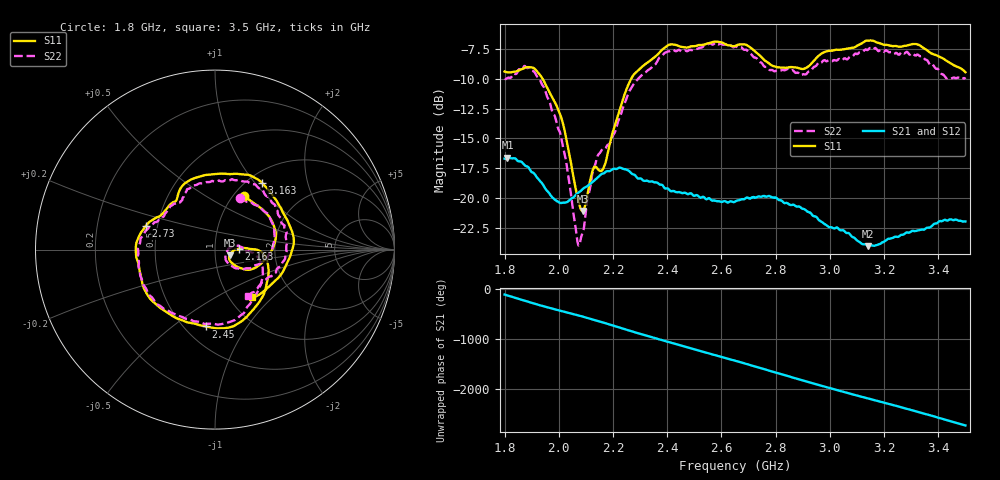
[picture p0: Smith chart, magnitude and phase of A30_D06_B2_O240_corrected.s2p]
! Created with skrf 1.9.0 (http://scikit-rf.org).
# Hz S RI R 50.0
!freq ReS11 ImS11 ReS21 ImS21 ReS12 ImS12 ReS22 ImS22
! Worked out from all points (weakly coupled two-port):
!   1601 points, 1.8 GHz to 3.5 GHz, reference 50 ohm
!   highest |S21| = -16.63 dB at 1.811 GHz (marker M1); lowest = -24.1 dB at 3.142 GHz (marker M2)
!   lowest |S11| = -21.1 dB at 2.088 GHz (marker M3), VSWR 1.19, Z = 58.8 - j3.85 ohm
!   |S11| at or under -10 dB: 1.941 GHz to 2.267 GHz (326.3 MHz wide, 15.5 % of centre)
!   |S22| runs from -24.0 to -7.0 dB; largest |S21 - S12| = 0.0024
!   S11 on the Smith chart (normalised r, x): 1.8 GHz: 1.12, +0.75; 2.163 GHz: 1.31, +0.01; 2.45 GHz: 0.63, -0.66; 2.73 GHz: 0.43, +0.14; 3.163 GHz: 1.16, +1.09; 3.5 GHz: 1.27, -0.76
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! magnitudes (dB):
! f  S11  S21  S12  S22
! 1.8 GHz  -9.4  -16.7  -16.7  -10.0
! 1.811 GHz  -9.5  -16.6  -16.6  -9.9
! 1.88 GHz  -9.0  -17.3  -17.3  -9.0
! 1.942 GHz  -10.1  -18.9  -18.9  -10.6
! 2.011 GHz  -13.4  -20.4  -20.4  -15.3
! 2.068 GHz  -19.8  -19.6  -19.6  -23.5
! 2.084 GHz  -21.0  -19.4  -19.3  -23.2
! 2.088 GHz  -21.1  -19.3  -19.3  -22.9
! 2.127 GHz  -17.5  -18.6  -18.6  -17.6
! 2.163 GHz  -17.6  -18.0  -17.9  -15.8
! 2.262 GHz  -10.2  -17.8  -17.8  -11.0
! 2.367 GHz  -7.9  -18.8  -18.7  -8.3
! 2.45 GHz  -7.3  -19.6  -19.5  -7.7
! 2.65 GHz  -7.2  -20.3  -20.3  -7.3
! 2.73 GHz  -7.8  -19.9  -20.0  -8.3
! 2.808 GHz  -9.0  -20.1  -20.1  -9.3
! 2.934 GHz  -8.7  -21.4  -21.4  -9.2
! 3.142 GHz  -6.8  -24.1  -23.9  -7.5
! 3.163 GHz  -6.8  -24.0  -24.0  -7.5
! 3.217 GHz  -7.2  -23.4  -23.4  -7.8
! 3.325 GHz  -7.1  -22.7  -22.7  -8.0
! 3.5 GHz  -9.4  -22.0  -22.0  -10.0
